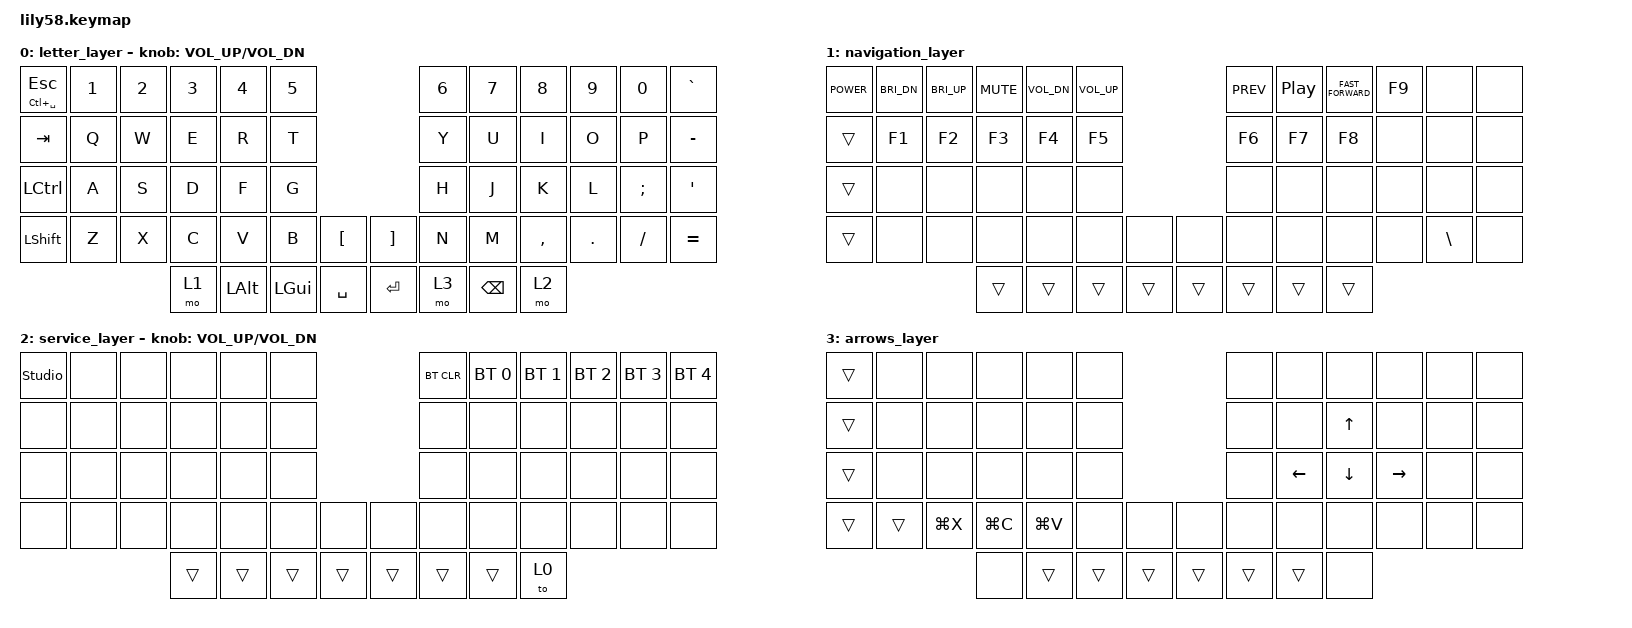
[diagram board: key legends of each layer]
/*
 * Copyright (c) 2020 The ZMK Contributors
 *
 * SPDX-License-Identifier: MIT
 */

#include <behaviors.dtsi>
#include <dt-bindings/zmk/bt.h>
#include <dt-bindings/zmk/keys.h>

/ {
    keymap {
        compatible = "zmk,keymap";

        letter_layer {
            // ------------------------------------------------------------------------------------------------------------
            // |  ESC  |  1  |  2  |  3   |  4   |  5   |                   |  6   |  7    |  8    |  9   |   0   |   `   |
            // |  TAB  |  Q  |  W  |  E   |  R   |  T   |                   |  Y   |  U    |  I    |  O   |   P   |   -   |
            // |  CTRL |  A  |  S  |  D   |  F   |  G   |                   |  H   |  J    |  K    |  L   |   ;   |   '   |
            // | SHIFT |  Z  |  X  |  C   |  V   |  B   |   "["  |  |  "]"  |  N   |  M    |  ,    |  .   |   /   | SHIFT |
            //                     | ALT  | GUI  | LOWER|  SPACE |  | ENTER | RAISE| BSPC  | GUI   |

            bindings = <
&mt LC(SPACE) ESC  &kp N1  &kp N2  &kp N3  &kp N4        &kp N5                               &kp N6  &kp N7         &kp N8     &kp N9   &kp N0    &kp GRAVE
&kp TAB            &kp Q   &kp W   &kp E   &kp R         &kp T                                &kp Y   &kp U          &kp I      &kp O    &kp P     &kp MINUS
&kp LCTRL          &kp A   &kp S   &kp D   &kp F         &kp G                                &kp H   &kp J          &kp K      &kp L    &kp SEMI  &kp SQT
&kp LSHFT          &kp Z   &kp X   &kp C   &kp V         &kp B         &kp LBKT     &kp RBKT  &kp N   &kp M          &kp COMMA  &kp DOT  &kp FSLH  &kp EQUAL
                                   &mo 1   &kp LEFT_ALT  &kp LEFT_GUI  &kp SPACE    &kp RET   &mo 3   &kp BACKSPACE  &mo 2
            >;

            sensor-bindings = <&inc_dec_kp C_VOL_UP C_VOL_DN>;
        };

        navigation_layer {
            // --------------------------------------------------------------------------------------------------------------
            // | LPAD  | BRDn | BRUp |  MUT |  Vo- |  Vo+ |                   |      |       |       |      |       |       |
            // |  F1   |  F2  |  F3  |  F4  |  F5  |  F6  |                   |  F7  |  F8   |  F9   |  F10 |  F11  |  F12  |
            // |   `   |  !   |  @   |  #   |  $   |  %   |                   |  ^   |  &    |  *    |  (   |   )   |   ~   |
            // |       |      |      |      |      |      |        |  |       |      |  _    |  +    |  {   |   }   |  "|"  |
            //                       |      |      |      |        |  |       |      |       |       |

            bindings = <
&kp C_POWER  &kp C_BRI_DN  &kp C_BRI_UP  &kp C_MUTE  &kp C_VOL_DN  &kp C_VOL_UP                    &kp C_PREV  &kp C_PLAY_PAUSE  &kp C_FAST_FORWARD  &kp F9  &none          &none
&trans       &kp F1        &kp F2        &kp F3      &kp F4        &kp F5                          &kp F6      &kp F7            &kp F8              &none   &none          &none
&trans       &none         &none         &none       &none         &none                           &none       &none             &none               &none   &none          &none
&trans       &none         &none         &none       &none         &none         &none     &none   &none       &none             &none               &none   &kp BACKSLASH  &none
                                         &trans      &trans        &trans        &trans    &trans  &trans      &trans            &trans
            >;
        };

        service_layer {
            // ------------------------------------------------------------------------------------------------------------
            // |       |     |     |      |      |      |                   |      |       |       |      |       |       |
            // |   `   |  1  |  2  |  3   |  4   |  5   |                   |  6   |   7   |   8   |  9   |   0   |       |
            // |   F1  |  F2 |  F3 |  F4  |  F5  |  F6  |                   |      |   <-  |   v   |  ^   |  ->   |       |
            // |   F7  |  F8 |  F9 |  F10 |  F11 |  F12 |        |  |       |  +   |   -   |   =   |  [   |   ]   |   \   |
            //                     |      |      |      |        |  |       |      |       |       |

            bindings = <
&studio_unlock  &none  &none  &none   &none   &none                     &bt BT_CLR  &bt BT_SEL 0  &bt BT_SEL 1  &bt BT_SEL 2  &bt BT_SEL 3  &bt BT_SEL 4
&none           &none  &none  &none   &none   &none                     &none       &none         &none         &none         &none         &none
&none           &none  &none  &none   &none   &none                     &none       &none         &none         &none         &none         &none
&none           &none  &none  &none   &none   &none   &none     &none   &none       &none         &none         &none         &none         &none
                              &trans  &trans  &trans  &trans    &trans  &trans      &trans        &to 0
            >;

            sensor-bindings = <&inc_dec_kp C_VOL_UP C_VOL_DN>;
        };

        arrows_layer {
            bindings = <
&trans  &none   &none      &none      &none      &none                     &none   &none           &none           &none            &none  &none
&trans  &none   &none      &none      &none      &none                     &none   &none           &kp UP_ARROW    &none            &none  &none
&trans  &none   &none      &none      &none      &none                     &none   &kp LEFT_ARROW  &kp DOWN_ARROW  &kp RIGHT_ARROW  &none  &none
&trans  &trans  &kp LG(X)  &kp LG(C)  &kp LG(V)  &none   &none     &none   &none   &none           &none           &none            &none  &none
                           &none      &trans     &trans  &trans    &trans  &trans  &trans          &none
            >;
        };
    };
};
